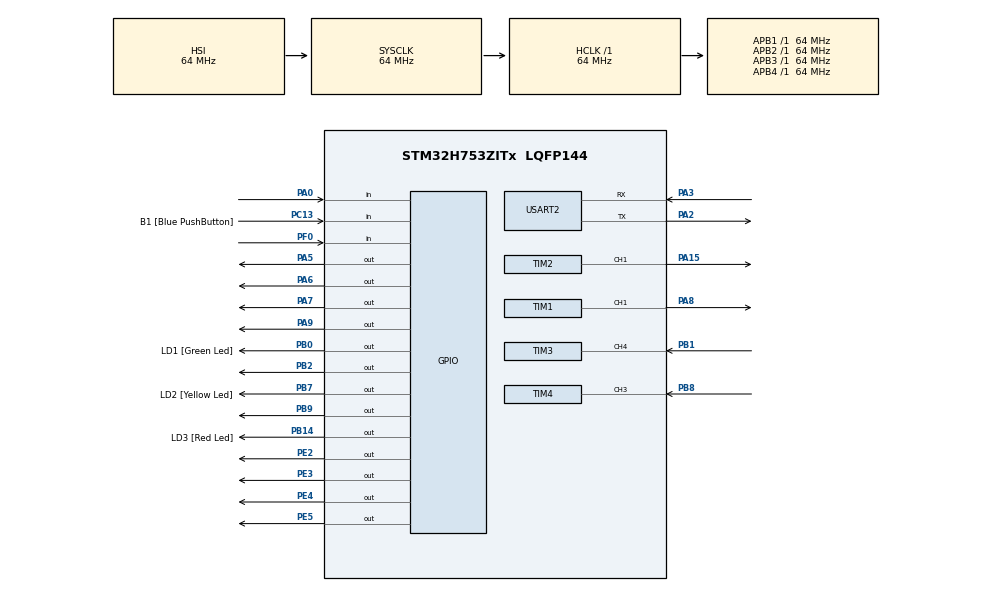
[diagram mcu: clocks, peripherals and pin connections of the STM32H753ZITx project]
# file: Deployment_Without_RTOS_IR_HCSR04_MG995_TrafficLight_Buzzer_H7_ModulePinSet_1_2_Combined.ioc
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CORTEX_M7.CPU_DCache=Disabled
CORTEX_M7.CPU_ICache=Disabled
CORTEX_M7.MPU_Control=__NULL
CORTEX_M7.default_mode_Activation=1
Mcu.Family=STM32H7
Mcu.Name=STM32H753ZITx
Mcu.Package=LQFP144
NVIC.PriorityGroup=NVIC_PRIORITYGROUP_4
NVIC.TIM3_IRQn=true\:0\:0\:false\:false\:true\:true\:true\:true
NVIC.TIM4_IRQn=true\:0\:0\:false\:false\:true\:true\:true\:true
PA0.Signal=GPIO_Input
PA15\ (JTDI).Signal=S_TIM2_CH1_ETR
PA2.Mode=Asynchronous
PA2.Signal=USART2_TX
PA3.Mode=Asynchronous
PA3.Signal=USART2_RX
PA5.Signal=GPIO_Output
PA6.Signal=GPIO_Output
PA7.Signal=GPIO_Output
PA8.Signal=S_TIM1_CH1
PA9.Signal=GPIO_Output
PB0.GPIO_Label=LD1 [Green Led]
PB0.Signal=GPIO_Output
PB1.GPIO_Speed=GPIO_SPEED_FREQ_HIGH
PB1.Signal=S_TIM3_CH4
PB14.GPIO_Label=LD3 [Red Led]
PB14.Signal=GPIO_Output
PB2.Signal=GPIO_Output
PB7.GPIO_Label=LD2 [Yellow Led]
PB7.Signal=GPIO_Output
PB8.GPIO_Speed=GPIO_SPEED_FREQ_HIGH
PB8.Signal=S_TIM4_CH3
PB9.Signal=GPIO_Output
PC13.GPIO_Label=B1 [Blue PushButton]
PC13.Signal=GPIO_Input
PC14-OSC32_IN\ (OSC32_IN).Signal=RCC_OSC32_IN
PC15-OSC32_OUT\ (OSC32_OUT).Signal=RCC_OSC32_OUT
PD8.GPIO_Label=STLINK_RX
PD8.Signal=USART3_TX
PD9.GPIO_Label=STLINK_TX
PD9.Signal=USART3_RX
PE2.Signal=GPIO_Output
PE3.Signal=GPIO_Output
PE4.Signal=GPIO_Output
PE5.Signal=GPIO_Output
PF0.Signal=GPIO_Input
PH0-OSC_IN\ (PH0).Signal=RCC_OSC_IN
PH1-OSC_OUT\ (PH1).Signal=RCC_OSC_OUT
ProjectManager.HeapSize=0x200
ProjectManager.StackSize=0x400
ProjectManager.TargetToolchain=STM32CubeIDE
RCC.ADCFreq_Value=129000000
RCC.APB1Freq_Value=64000000
RCC.APB2Freq_Value=64000000
RCC.APB3Freq_Value=64000000
RCC.APB4Freq_Value=64000000
RCC.CortexFreq_Value=64000000
RCC.DIVM1=1
RCC.DIVN1=24
RCC.DIVQ1=4
RCC.HCLKFreq_Value=64000000
RCC.HSE_VALUE=8000000
RCC.PLLFRACN=0
RCC.PWR_Regulator_Voltage_Scale=PWR_REGULATOR_VOLTAGE_SCALE2
RCC.SYSCLKFreq_VALUE=64000000
RCC.USBFreq_Value=384000000
SH.S_TIM1_CH1.0=TIM1_CH1,PWM Generation1 CH1
SH.S_TIM2_CH1_ETR.0=TIM2_CH1,PWM Generation1 CH1
SH.S_TIM3_CH4.0=TIM3_CH4,Input_Capture4_from_TI4
SH.S_TIM4_CH3.0=TIM4_CH3,Input_Capture3_from_TI3
TIM1.Channel-PWM\ Generation1\ CH1=TIM_CHANNEL_1
TIM1.Period=1999
TIM1.Prescaler=639
TIM2.Channel-PWM\ Generation1\ CH1=TIM_CHANNEL_1
TIM2.Period=1999
TIM2.Prescaler=639
TIM3.Channel-Input_Capture4_from_TI4=TIM_CHANNEL_4
TIM3.Prescaler=199
TIM4.Channel-Input_Capture3_from_TI3=TIM_CHANNEL_3
TIM4.Prescaler=199
USART2.VirtualMode-Asynchronous=VM_ASYNC
VP_MEMORYMAP_VS_MEMORYMAP.Mode=CurAppReg
VP_TIM1_VS_ClockSourceINT.Mode=Internal
VP_TIM2_VS_ClockSourceINT.Mode=Internal
VP_TIM3_VS_ClockSourceINT.Mode=Internal
VP_TIM4_VS_ClockSourceINT.Mode=Internal
board=NUCLEO-H753ZI

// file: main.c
/* USER CODE BEGIN Header */
/**
  ******************************************************************************
  * @file           : main.c
  * @brief          : Main program body
  ******************************************************************************
  * @attention
  *
  * Copyright (c) 2026 STMicroelectronics.
  * All rights reserved.
  *
  * This software is licensed under terms that can be found in the LICENSE file
  * in the root directory of this software component.
  * If no LICENSE file comes with this software, it is provided AS-IS.
  *
  ******************************************************************************
  */
/* USER CODE END Header */
#include "main.h"

/* USER CODE BEGIN Includes */
#include <stdio.h>
#include <string.h>
#include <stdarg.h>
/* USER CODE END Includes */

/* USER CODE BEGIN PD */
#define ULTRASONIC_MIN_CM 2.0f
#define ULTRASONIC_MAX_CM 15.0f
/* USER CODE END PD */

TIM_HandleTypeDef htim1;
TIM_HandleTypeDef htim2;
TIM_HandleTypeDef htim3;
TIM_HandleTypeDef htim4;

UART_HandleTypeDef huart2;

/* USER CODE BEGIN PV */
volatile uint32_t ic_val1_gate1 = 0, ic_val2_gate1 = 0;
volatile uint8_t is_first_capture_gate1 = 0;
volatile uint32_t echo_ticks_gate1 = 0;
float distance_cm_gate1 = 0.0f;

volatile uint32_t ic_val1_gate2 = 0, ic_val2_gate2 = 0;
volatile uint8_t is_first_capture_gate2 = 0;
volatile uint32_t echo_ticks_gate2 = 0;
float distance_cm_gate2 = 0.0f;

float tick_us_pwm;

volatile uint8_t sweeping_down = 0;
volatile uint8_t gates_closed = 0;
volatile uint8_t train_passing = 0;
volatile float gate1_current_angle = 180.0f, gate2_current_angle = 180.0f;

volatile uint32_t gate1_pause_end = 0;
volatile uint32_t gate2_pause_end = 0;
volatile uint32_t passing_end = 0;
volatile uint32_t open_delay_end = 0;
volatile uint32_t step_timer = 0;
volatile uint8_t yellow_blink = 0;
volatile uint32_t yellow_blink_timer = 0;

volatile uint32_t ir1_debounce_end = 0;
volatile uint32_t ir2_debounce_end = 0;
volatile uint32_t ultrasonic_timeout = 0;
/* USER CODE END PV */

void SystemClock_Config(void);
static void MX_GPIO_Init(void);
static void MX_TIM1_Init(void);
static void MX_TIM2_Init(void);
static void MX_TIM3_Init(void);
static void MX_TIM4_Init(void);
static void MX_USART2_UART_Init(void);
/* USER CODE BEGIN PFP */
void delay_us(uint16_t us);
void HCSR04_Trigger_Gate1(void);
void HCSR04_Trigger_Gate2(void);
uint32_t Angle_to_CCR(float angle_deg);
float Check_Ultrasonic_Gate1(void);
float Check_Ultrasonic_Gate2(void);
void Print(const char *format, ...);
void BlinkRedAndBuzzBoth(void);
void TurnOffAllFeedback(void);
void SetServoGate1(float angle);
void SetServoGate2(float angle);
/* USER CODE END PFP */

/* USER CODE BEGIN 0 */
void delay_us(uint16_t us)
{
  __HAL_TIM_SET_COUNTER(&htim3, 0);
  while (__HAL_TIM_GET_COUNTER(&htim3) < us);
}

void HCSR04_Trigger_Gate1(void)
{
  HAL_GPIO_WritePin(GPIOB, GPIO_PIN_2, GPIO_PIN_RESET);
  delay_us(2);
  HAL_GPIO_WritePin(GPIOB, GPIO_PIN_2, GPIO_PIN_SET);
  delay_us(10);
  HAL_GPIO_WritePin(GPIOB, GPIO_PIN_2, GPIO_PIN_RESET);
}

void HCSR04_Trigger_Gate2(void)
{
  HAL_GPIO_WritePin(GPIOB, GPIO_PIN_9, GPIO_PIN_RESET);
  delay_us(2);
  HAL_GPIO_WritePin(GPIOB, GPIO_PIN_9, GPIO_PIN_SET);
  delay_us(10);
  HAL_GPIO_WritePin(GPIOB, GPIO_PIN_9, GPIO_PIN_RESET);
}

uint32_t Angle_to_CCR(float angle_deg)
{
  float pulse_us = 1000.0f + (angle_deg / 180.0f) * 1000.0f;
  return (uint32_t)(pulse_us / tick_us_pwm);
}

float Check_Ultrasonic_Gate1(void)
{
  HCSR04_Trigger_Gate1();
  is_first_capture_gate1 = 0;
  ultrasonic_timeout = HAL_GetTick() + 50; // Timeout 50ms for no echo
  while (!is_first_capture_gate1 && HAL_GetTick() < ultrasonic_timeout)
  {
    // Wait for first capture (rising)
  }
  if (is_first_capture_gate1)
  {
    ultrasonic_timeout = HAL_GetTick() + 50;
    while (is_first_capture_gate1 && HAL_GetTick() < ultrasonic_timeout)
    {
      // Wait for second capture (falling)
    }
  }
  return distance_cm_gate1;
}

float Check_Ultrasonic_Gate2(void)
{
  HCSR04_Trigger_Gate2();
  is_first_capture_gate2 = 0;
  ultrasonic_timeout = HAL_GetTick() + 50;
  while (!is_first_capture_gate2 && HAL_GetTick() < ultrasonic_timeout)
  {
    // Wait for first capture
  }
  if (is_first_capture_gate2)
  {
    ultrasonic_timeout = HAL_GetTick() + 50;
    while (is_first_capture_gate2 && HAL_GetTick() < ultrasonic_timeout)
    {
      // Wait for second capture
    }
  }
  return distance_cm_gate2;
}

void BlinkRedAndBuzzBoth(void)
{
  HAL_GPIO_WritePin(GPIOA, GPIO_PIN_5, GPIO_PIN_SET);
  HAL_GPIO_WritePin(GPIOA, GPIO_PIN_9, GPIO_PIN_SET);
  HAL_GPIO_WritePin(GPIOE, GPIO_PIN_2, GPIO_PIN_SET);
  HAL_GPIO_WritePin(GPIOE, GPIO_PIN_5, GPIO_PIN_SET);
}

void TurnOffAllFeedback(void)
{
  HAL_GPIO_WritePin(GPIOA, GPIO_PIN_5|GPIO_PIN_6|GPIO_PIN_7|GPIO_PIN_9, GPIO_PIN_RESET);
  HAL_GPIO_WritePin(GPIOE, GPIO_PIN_2|GPIO_PIN_3|GPIO_PIN_4|GPIO_PIN_5, GPIO_PIN_RESET);
}

void SetServoGate1(float angle)
{
  __HAL_TIM_SET_COMPARE(&htim1, TIM_CHANNEL_1, Angle_to_CCR(angle));
}

void SetServoGate2(float angle)
{
  __HAL_TIM_SET_COMPARE(&htim2, TIM_CHANNEL_1, Angle_to_CCR(angle));
}

void Print(const char *format, ...)
{
  char buffer[128];
  va_list args;
  va_start(args, format);
  vsnprintf(buffer, sizeof(buffer), format, args);
  va_end(args);

  HAL_UART_Transmit(&huart2, (uint8_t*)buffer, strlen(buffer), HAL_MAX_DELAY);
}
/* USER CODE END 0 */
int main(void)
{

  /* MCU Configuration--------------------------------------------------------*/

  /* Reset of all peripherals, Initializes the Flash interface and the Systick. */
  HAL_Init();

  /* Configure the system clock */
  SystemClock_Config();

  /* Initialize all configured peripherals */
  MX_GPIO_Init();
  MX_TIM1_Init();
  MX_TIM2_Init();
  MX_TIM3_Init();
  MX_TIM4_Init();
  MX_USART2_UART_Init();
  /* USER CODE BEGIN 2 */
  HAL_TIM_PWM_Start(&htim1, TIM_CHANNEL_1);
  HAL_TIM_PWM_Start(&htim2, TIM_CHANNEL_1);
  HAL_TIM_IC_Start_IT(&htim3, TIM_CHANNEL_4);
  HAL_TIM_IC_Start_IT(&htim4, TIM_CHANNEL_3);

  uint32_t timer_clk_freq = HAL_RCC_GetPCLK2Freq();
  tick_us_pwm = (htim1.Init.Prescaler + 1) * 1.0f / (timer_clk_freq / 1000000.0f);

  SetServoGate1(180.0f);
  SetServoGate2(180.0f);

  TurnOffAllFeedback();
  HAL_GPIO_WritePin(GPIOA, GPIO_PIN_7, GPIO_PIN_SET); // Green 1
  HAL_GPIO_WritePin(GPIOE, GPIO_PIN_4, GPIO_PIN_SET); // Green 2

  Print("\r\nSystem Idle – Gates Open (180°)\r\n");
  /* USER CODE END 2 */

  /* USER CODE BEGIN WHILE */
  while (1)
  {
    uint32_t current_tick = HAL_GetTick();

    /* IR Gate 1 - Train Coming */
    if (HAL_GPIO_ReadPin(GPIOA, GPIO_PIN_0) == GPIO_PIN_RESET && !sweeping_down && !gates_closed && !train_passing && current_tick > ir1_debounce_end)
    {
      Print("IR Gate 1 Detected - Train Coming - Closing Both Gates\r\n");
      ir1_debounce_end = current_tick + 200;
      sweeping_down = 1;
      gates_closed = 0;
      train_passing = 0;

      // Blink yellow for 1-2s (toggle ON/OFF 500ms, 2 times)
      yellow_blink = 1;
      yellow_blink_timer = current_tick + 2000;

      while (current_tick < yellow_blink_timer)
      {
        current_tick = HAL_GetTick();
        if (current_tick - yellow_blink_timer % 1000 < 500)
        {
          HAL_GPIO_WritePin(GPIOA, GPIO_PIN_6, GPIO_PIN_SET);
          HAL_GPIO_WritePin(GPIOE, GPIO_PIN_3, GPIO_PIN_SET);
        }
        else
        {
          HAL_GPIO_WritePin(GPIOA, GPIO_PIN_6, GPIO_PIN_RESET);
          HAL_GPIO_WritePin(GPIOE, GPIO_PIN_3, GPIO_PIN_RESET);
        }
      }
      HAL_GPIO_WritePin(GPIOA, GPIO_PIN_6, GPIO_PIN_RESET);
      HAL_GPIO_WritePin(GPIOE, GPIO_PIN_3, GPIO_PIN_RESET);
      yellow_blink = 0;

      gate1_current_angle = 180.0f;
      gate2_current_angle = 180.0f;

      gate1_pause_end = 0;
      gate2_pause_end = 0;
      step_timer = current_tick + 100; // 100ms steps
    }

    /* Closing Logic */
    if (sweeping_down)
    {
      current_tick = HAL_GetTick();
      if (current_tick >= step_timer)
      {
        step_timer = current_tick + 100;

        uint8_t moved = 0;

        /* Gate 1 */
        if (gate1_current_angle > 0.0f)
        {
          if (current_tick < gate1_pause_end)
          {
            // Pausing
          }
          else
          {
            float dist1 = Check_Ultrasonic_Gate1();
            if (dist1 >= ULTRASONIC_MIN_CM && dist1 <= ULTRASONIC_MAX_CM)
            {
              Print("Gate 1 Ultrasonic Detected at %.1f cm - Pausing at 90°, Wait 1s\r\n", dist1);
              SetServoGate1(90.0f);
              gate1_pause_end = current_tick + 1000; // 1s pause
            }
            else
            {
              gate1_current_angle -= 10.0f;
              SetServoGate1(gate1_current_angle);
              Print("Gate 1 Angle: %.1f°\r\n", gate1_current_angle);
              moved = 1;
            }
          }
        }

        /* Gate 2 */
        if (gate2_current_angle > 0.0f)
        {
          if (current_tick < gate2_pause_end)
          {
            // Pausing
          }
          else
          {
            float dist2 = Check_Ultrasonic_Gate2();
            if (dist2 >= ULTRASONIC_MIN_CM && dist2 <= ULTRASONIC_MAX_CM)
            {
              Print("Gate 2 Ultrasonic Detected at %.1f cm - Pausing at 90°, Wait 1s\r\n", dist2);
              SetServoGate2(90.0f);
              gate2_pause_end = current_tick + 1000; // 1s pause
            }
            else
            {
              gate2_current_angle -= 10.0f;
              SetServoGate2(gate2_current_angle);
              Print("Gate 2 Angle: %.1f°\r\n", gate2_current_angle);
              moved = 1;
            }
          }
        }

        if (moved)
        {
          BlinkRedAndBuzzBoth();
        }
      }

      if (gate1_current_angle <= 0.0f && gate2_current_angle <= 0.0f)
      {
        sweeping_down = 0;
        gates_closed = 1;
        Print("Both Gates Closed (0°) - Train Passing - 3s Delay\r\n");
        passing_end = current_tick + 3000; // 3s passing
        HAL_GPIO_WritePin(GPIOA, GPIO_PIN_5, GPIO_PIN_SET); // Steady red
        HAL_GPIO_WritePin(GPIOE, GPIO_PIN_2, GPIO_PIN_SET);
        HAL_GPIO_WritePin(GPIOA, GPIO_PIN_9, GPIO_PIN_SET); // Steady buzzer
        HAL_GPIO_WritePin(GPIOE, GPIO_PIN_5, GPIO_PIN_SET);
      }
    }

    /* Passing Delay */
    if (gates_closed && current_tick >= passing_end)
    {
      TurnOffAllFeedback();
      train_passing = 1;
    }

    /* IR Gate 2 - Train Exited */
    if (train_passing && HAL_GPIO_ReadPin(GPIOF, GPIO_PIN_0) == GPIO_PIN_RESET && current_tick > ir2_debounce_end)
    {
      Print("IR Gate 2 Detected - Train Exited - 1s Delay then Opening Both Gates\r\n");
      ir2_debounce_end = current_tick + 200;
      open_delay_end = current_tick + 1000; // 1s delay

      while (current_tick < open_delay_end)
      {
        current_tick = HAL_GetTick();
      }

      gate1_current_angle = 0.0f;
      gate2_current_angle = 0.0f;
      step_timer = current_tick + 100; // 100ms steps

      while (gate1_current_angle < 180.0f || gate2_current_angle < 180.0f)
      {
        current_tick = HAL_GetTick();
        if (current_tick >= step_timer)
        {
          step_timer = current_tick + 100;

          if (gate1_current_angle < 180.0f)
          {
            gate1_current_angle += 10.0f;
            SetServoGate1(gate1_current_angle);
            Print("Gate 1 Angle: %.1f°\r\n", gate1_current_angle);
          }

          if (gate2_current_angle < 180.0f)
          {
            gate2_current_angle += 10.0f;
            SetServoGate2(gate2_current_angle);
            Print("Gate 2 Angle: %.1f°\r\n", gate2_current_angle);
          }

          BlinkRedAndBuzzBoth();
        }
      }

      Print("Both Gates Open (180°) - Safe State\r\n");
      TurnOffAllFeedback();
      HAL_GPIO_WritePin(GPIOA, GPIO_PIN_7, GPIO_PIN_SET); // Green ON
      HAL_GPIO_WritePin(GPIOE, GPIO_PIN_4, GPIO_PIN_SET); // Green ON

      gates_closed = 0;
      train_passing = 0;
    }

    HAL_Delay(50); // Main loop rate
  }
  /* USER CODE END 3 */
}

void SystemClock_Config(void)
{
  RCC_OscInitTypeDef RCC_OscInitStruct = {0};
  RCC_ClkInitTypeDef RCC_ClkInitStruct = {0};

  /** Supply configuration update enable
  */
  HAL_PWREx_ConfigSupply(PWR_LDO_SUPPLY);

  /** Configure the main internal regulator output voltage
  */
  __HAL_PWR_VOLTAGESCALING_CONFIG(PWR_REGULATOR_VOLTAGE_SCALE2);

  while(!__HAL_PWR_GET_FLAG(PWR_FLAG_VOSRDY)) {}

  /** Initializes the RCC Oscillators according to the specified parameters
  * in the RCC_OscInitTypeDef structure.
  */
  RCC_OscInitStruct.OscillatorType = RCC_OSCILLATORTYPE_HSI;
  RCC_OscInitStruct.HSIState = RCC_HSI_DIV1;
  RCC_OscInitStruct.HSICalibrationValue = RCC_HSICALIBRATION_DEFAULT;
  RCC_OscInitStruct.PLL.PLLState = RCC_PLL_NONE;
  if (HAL_RCC_OscConfig(&RCC_OscInitStruct) != HAL_OK)
  {
    Error_Handler();
  }

  /** Initializes the CPU, AHB and APB buses clocks
  */
  RCC_ClkInitStruct.ClockType = RCC_CLOCKTYPE_HCLK|RCC_CLOCKTYPE_SYSCLK
                              |RCC_CLOCKTYPE_PCLK1|RCC_CLOCKTYPE_PCLK2
                              |RCC_CLOCKTYPE_D3PCLK1|RCC_CLOCKTYPE_D1PCLK1;
  RCC_ClkInitStruct.SYSCLKSource = RCC_SYSCLKSOURCE_HSI;
  RCC_ClkInitStruct.SYSCLKDivider = RCC_SYSCLK_DIV1;
  RCC_ClkInitStruct.AHBCLKDivider = RCC_HCLK_DIV1;
  RCC_ClkInitStruct.APB3CLKDivider = RCC_APB3_DIV1;
  RCC_ClkInitStruct.APB1CLKDivider = RCC_APB1_DIV1;
  RCC_ClkInitStruct.APB2CLKDivider = RCC_APB2_DIV1;
  RCC_ClkInitStruct.APB4CLKDivider = RCC_APB4_DIV1;

  if (HAL_RCC_ClockConfig(&RCC_ClkInitStruct, FLASH_LATENCY_1) != HAL_OK)
  {
    Error_Handler();
  }
}

static void MX_TIM1_Init(void)
{

  TIM_ClockConfigTypeDef sClockSourceConfig = {0};
  TIM_MasterConfigTypeDef sMasterConfig = {0};
  TIM_OC_InitTypeDef sConfigOC = {0};
  TIM_BreakDeadTimeConfigTypeDef sBreakDeadTimeConfig = {0};

  htim1.Instance = TIM1;
  htim1.Init.Prescaler = 639;
  htim1.Init.CounterMode = TIM_COUNTERMODE_UP;
  htim1.Init.Period = 1999;
  htim1.Init.ClockDivision = TIM_CLOCKDIVISION_DIV1;
  htim1.Init.RepetitionCounter = 0;
  htim1.Init.AutoReloadPreload = TIM_AUTORELOAD_PRELOAD_DISABLE;
  if (HAL_TIM_Base_Init(&htim1) != HAL_OK)
  {
    Error_Handler();
  }
  sClockSourceConfig.ClockSource = TIM_CLOCKSOURCE_INTERNAL;
  if (HAL_TIM_ConfigClockSource(&htim1, &sClockSourceConfig) != HAL_OK)
  {
    Error_Handler();
  }
  if (HAL_TIM_PWM_Init(&htim1) != HAL_OK)
  {
    Error_Handler();
  }
  sMasterConfig.MasterOutputTrigger = TIM_TRGO_RESET;
  sMasterConfig.MasterOutputTrigger2 = TIM_TRGO2_RESET;
  sMasterConfig.MasterSlaveMode = TIM_MASTERSLAVEMODE_DISABLE;
  if (HAL_TIMEx_MasterConfigSynchronization(&htim1, &sMasterConfig) != HAL_OK)
  {
    Error_Handler();
  }
  sConfigOC.OCMode = TIM_OCMODE_PWM1;
  sConfigOC.Pulse = 0;
  sConfigOC.OCPolarity = TIM_OCPOLARITY_HIGH;
  sConfigOC.OCNPolarity = TIM_OCNPOLARITY_HIGH;
  sConfigOC.OCFastMode = TIM_OCFAST_DISABLE;
  sConfigOC.OCIdleState = TIM_OCIDLESTATE_RESET;
  sConfigOC.OCNIdleState = TIM_OCNIDLESTATE_RESET;
  if (HAL_TIM_PWM_ConfigChannel(&htim1, &sConfigOC, TIM_CHANNEL_1) != HAL_OK)
  {
    Error_Handler();
  }
  sBreakDeadTimeConfig.OffStateRunMode = TIM_OSSR_DISABLE;
  sBreakDeadTimeConfig.OffStateIDLEMode = TIM_OSSI_DISABLE;
  sBreakDeadTimeConfig.LockLevel = TIM_LOCKLEVEL_OFF;
  sBreakDeadTimeConfig.DeadTime = 0;
  sBreakDeadTimeConfig.BreakState = TIM_BREAK_DISABLE;
  sBreakDeadTimeConfig.BreakPolarity = TIM_BREAKPOLARITY_HIGH;
  sBreakDeadTimeConfig.BreakFilter = 0;
  sBreakDeadTimeConfig.Break2State = TIM_BREAK2_DISABLE;
  sBreakDeadTimeConfig.Break2Polarity = TIM_BREAK2POLARITY_HIGH;
  sBreakDeadTimeConfig.Break2Filter = 0;
  sBreakDeadTimeConfig.AutomaticOutput = TIM_AUTOMATICOUTPUT_DISABLE;
  if (HAL_TIMEx_ConfigBreakDeadTime(&htim1, &sBreakDeadTimeConfig) != HAL_OK)
  {
    Error_Handler();
  }
  HAL_TIM_MspPostInit(&htim1);

}

static void MX_TIM2_Init(void)
{

  TIM_ClockConfigTypeDef sClockSourceConfig = {0};
  TIM_MasterConfigTypeDef sMasterConfig = {0};
  TIM_OC_InitTypeDef sConfigOC = {0};

  htim2.Instance = TIM2;
  htim2.Init.Prescaler = 639;
  htim2.Init.CounterMode = TIM_COUNTERMODE_UP;
  htim2.Init.Period = 1999;
  htim2.Init.ClockDivision = TIM_CLOCKDIVISION_DIV1;
  htim2.Init.AutoReloadPreload = TIM_AUTORELOAD_PRELOAD_DISABLE;
  if (HAL_TIM_Base_Init(&htim2) != HAL_OK)
  {
    Error_Handler();
  }
  sClockSourceConfig.ClockSource = TIM_CLOCKSOURCE_INTERNAL;
  if (HAL_TIM_ConfigClockSource(&htim2, &sClockSourceConfig) != HAL_OK)
  {
    Error_Handler();
  }
  if (HAL_TIM_PWM_Init(&htim2) != HAL_OK)
  {
    Error_Handler();
  }
  sMasterConfig.MasterOutputTrigger = TIM_TRGO_RESET;
  sMasterConfig.MasterSlaveMode = TIM_MASTERSLAVEMODE_DISABLE;
  if (HAL_TIMEx_MasterConfigSynchronization(&htim2, &sMasterConfig) != HAL_OK)
  {
    Error_Handler();
  }
  sConfigOC.OCMode = TIM_OCMODE_PWM1;
  sConfigOC.Pulse = 0;
  sConfigOC.OCPolarity = TIM_OCPOLARITY_HIGH;
  sConfigOC.OCFastMode = TIM_OCFAST_DISABLE;
  if (HAL_TIM_PWM_ConfigChannel(&htim2, &sConfigOC, TIM_CHANNEL_1) != HAL_OK)
  {
    Error_Handler();
  }
  HAL_TIM_MspPostInit(&htim2);

}

static void MX_TIM3_Init(void)
{

  TIM_ClockConfigTypeDef sClockSourceConfig = {0};
  TIM_MasterConfigTypeDef sMasterConfig = {0};
  TIM_IC_InitTypeDef sConfigIC = {0};

  htim3.Instance = TIM3;
  htim3.Init.Prescaler = 199;
  htim3.Init.CounterMode = TIM_COUNTERMODE_UP;
  htim3.Init.Period = 65535;
  htim3.Init.ClockDivision = TIM_CLOCKDIVISION_DIV1;
  htim3.Init.AutoReloadPreload = TIM_AUTORELOAD_PRELOAD_DISABLE;
  if (HAL_TIM_Base_Init(&htim3) != HAL_OK)
  {
    Error_Handler();
  }
  sClockSourceConfig.ClockSource = TIM_CLOCKSOURCE_INTERNAL;
  if (HAL_TIM_ConfigClockSource(&htim3, &sClockSourceConfig) != HAL_OK)
  {
    Error_Handler();
  }
  if (HAL_TIM_IC_Init(&htim3) != HAL_OK)
  {
    Error_Handler();
  }
  sMasterConfig.MasterOutputTrigger = TIM_TRGO_RESET;
  sMasterConfig.MasterSlaveMode = TIM_MASTERSLAVEMODE_DISABLE;
  if (HAL_TIMEx_MasterConfigSynchronization(&htim3, &sMasterConfig) != HAL_OK)
  {
    Error_Handler();
  }
  sConfigIC.ICPolarity = TIM_INPUTCHANNELPOLARITY_RISING;
  sConfigIC.ICSelection = TIM_ICSELECTION_DIRECTTI;
  sConfigIC.ICPrescaler = TIM_ICPSC_DIV1;
  sConfigIC.ICFilter = 0;
  if (HAL_TIM_IC_ConfigChannel(&htim3, &sConfigIC, TIM_CHANNEL_4) != HAL_OK)
  {
    Error_Handler();
  }

}

static void MX_TIM4_Init(void)
{

  TIM_ClockConfigTypeDef sClockSourceConfig = {0};
  TIM_MasterConfigTypeDef sMasterConfig = {0};
  TIM_IC_InitTypeDef sConfigIC = {0};

  htim4.Instance = TIM4;
  htim4.Init.Prescaler = 199;
  htim4.Init.CounterMode = TIM_COUNTERMODE_UP;
  htim4.Init.Period = 65535;
  htim4.Init.ClockDivision = TIM_CLOCKDIVISION_DIV1;
  htim4.Init.AutoReloadPreload = TIM_AUTORELOAD_PRELOAD_DISABLE;
  if (HAL_TIM_Base_Init(&htim4) != HAL_OK)
  {
    Error_Handler();
  }
  sClockSourceConfig.ClockSource = TIM_CLOCKSOURCE_INTERNAL;
  if (HAL_TIM_ConfigClockSource(&htim4, &sClockSourceConfig) != HAL_OK)
  {
    Error_Handler();
  }
  if (HAL_TIM_IC_Init(&htim4) != HAL_OK)
  {
    Error_Handler();
  }
  sMasterConfig.MasterOutputTrigger = TIM_TRGO_RESET;
  sMasterConfig.MasterSlaveMode = TIM_MASTERSLAVEMODE_DISABLE;
  if (HAL_TIMEx_MasterConfigSynchronization(&htim4, &sMasterConfig) != HAL_OK)
  {
    Error_Handler();
  }
  sConfigIC.ICPolarity = TIM_INPUTCHANNELPOLARITY_RISING;
  sConfigIC.ICSelection = TIM_ICSELECTION_DIRECTTI;
  sConfigIC.ICPrescaler = TIM_ICPSC_DIV1;
  sConfigIC.ICFilter = 0;
  if (HAL_TIM_IC_ConfigChannel(&htim4, &sConfigIC, TIM_CHANNEL_3) != HAL_OK)
  {
    Error_Handler();
  }

}

static void MX_USART2_UART_Init(void)
{

  huart2.Instance = USART2;
  huart2.Init.BaudRate = 115200;
  huart2.Init.WordLength = UART_WORDLENGTH_8B;
  huart2.Init.StopBits = UART_STOPBITS_1;
  huart2.Init.Parity = UART_PARITY_NONE;
  huart2.Init.Mode = UART_MODE_TX_RX;
  huart2.Init.HwFlowCtl = UART_HWCONTROL_NONE;
  huart2.Init.OverSampling = UART_OVERSAMPLING_16;
  huart2.Init.OneBitSampling = UART_ONE_BIT_SAMPLE_DISABLE;
  huart2.Init.ClockPrescaler = UART_PRESCALER_DIV1;
  huart2.AdvancedInit.AdvFeatureInit = UART_ADVFEATURE_NO_INIT;
  if (HAL_UART_Init(&huart2) != HAL_OK)
  {
    Error_Handler();
  }
  if (HAL_UARTEx_SetTxFifoThreshold(&huart2, UART_TXFIFO_THRESHOLD_1_8) != HAL_OK)
  {
    Error_Handler();
  }
  if (HAL_UARTEx_SetRxFifoThreshold(&huart2, UART_RXFIFO_THRESHOLD_1_8) != HAL_OK)
  {
    Error_Handler();
  }
  if (HAL_UARTEx_DisableFifoMode(&huart2) != HAL_OK)
  {
    Error_Handler();
  }

}

static void MX_GPIO_Init(void)
{
  GPIO_InitTypeDef GPIO_InitStruct = {0};

  /* GPIO Ports Clock Enable */
  __HAL_RCC_GPIOE_CLK_ENABLE();
  __HAL_RCC_GPIOC_CLK_ENABLE();
  __HAL_RCC_GPIOF_CLK_ENABLE();
  __HAL_RCC_GPIOH_CLK_ENABLE();
  __HAL_RCC_GPIOA_CLK_ENABLE();
  __HAL_RCC_GPIOB_CLK_ENABLE();
  __HAL_RCC_GPIOD_CLK_ENABLE();

  /*Configure GPIO pin Output Level */
  HAL_GPIO_WritePin(GPIOE, GPIO_PIN_2|GPIO_PIN_3|GPIO_PIN_4|GPIO_PIN_5, GPIO_PIN_RESET);

  /*Configure GPIO pin Output Level */
  HAL_GPIO_WritePin(GPIOA, GPIO_PIN_5|GPIO_PIN_6|GPIO_PIN_7|GPIO_PIN_9, GPIO_PIN_RESET);

  /*Configure GPIO pin Output Level */
  HAL_GPIO_WritePin(GPIOB, LD1_Pin|GPIO_PIN_2|LD3_Pin|LD2_Pin
                          |GPIO_PIN_9, GPIO_PIN_RESET);

  /*Configure GPIO pins : PE2 PE3 PE4 PE5 */
  GPIO_InitStruct.Pin = GPIO_PIN_2|GPIO_PIN_3|GPIO_PIN_4|GPIO_PIN_5;
  GPIO_InitStruct.Mode = GPIO_MODE_OUTPUT_PP;
  GPIO_InitStruct.Pull = GPIO_NOPULL;
  GPIO_InitStruct.Speed = GPIO_SPEED_FREQ_LOW;
  HAL_GPIO_Init(GPIOE, &GPIO_InitStruct);

  /*Configure GPIO pin : B1_Pin */
  GPIO_InitStruct.Pin = B1_Pin;
  GPIO_InitStruct.Mode = GPIO_MODE_INPUT;
  GPIO_InitStruct.Pull = GPIO_NOPULL;
  HAL_GPIO_Init(B1_GPIO_Port, &GPIO_InitStruct);

  /*Configure GPIO pin : PF0 */
  GPIO_InitStruct.Pin = GPIO_PIN_0;
  GPIO_InitStruct.Mode = GPIO_MODE_INPUT;
  GPIO_InitStruct.Pull = GPIO_NOPULL;
  HAL_GPIO_Init(GPIOF, &GPIO_InitStruct);

  /*Configure GPIO pin : PA0 */
  GPIO_InitStruct.Pin = GPIO_PIN_0;
  GPIO_InitStruct.Mode = GPIO_MODE_INPUT;
  GPIO_InitStruct.Pull = GPIO_NOPULL;
  HAL_GPIO_Init(GPIOA, &GPIO_InitStruct);

  /*Configure GPIO pins : PA5 PA6 PA7 PA9 */
  GPIO_InitStruct.Pin = GPIO_PIN_5|GPIO_PIN_6|GPIO_PIN_7|GPIO_PIN_9;
  GPIO_InitStruct.Mode = GPIO_MODE_OUTPUT_PP;
  GPIO_InitStruct.Pull = GPIO_NOPULL;
  GPIO_InitStruct.Speed = GPIO_SPEED_FREQ_LOW;
  HAL_GPIO_Init(GPIOA, &GPIO_InitStruct);

  /*Configure GPIO pins : LD1_Pin PB2 LD3_Pin LD2_Pin
                           PB9 */
  GPIO_InitStruct.Pin = LD1_Pin|GPIO_PIN_2|LD3_Pin|LD2_Pin
                          |GPIO_PIN_9;
  GPIO_InitStruct.Mode = GPIO_MODE_OUTPUT_PP;
  GPIO_InitStruct.Pull = GPIO_NOPULL;
  GPIO_InitStruct.Speed = GPIO_SPEED_FREQ_LOW;
  HAL_GPIO_Init(GPIOB, &GPIO_InitStruct);

  /*Configure GPIO pins : STLINK_RX_Pin STLINK_TX_Pin */
  GPIO_InitStruct.Pin = STLINK_RX_Pin|STLINK_TX_Pin;
  GPIO_InitStruct.Mode = GPIO_MODE_AF_PP;
  GPIO_InitStruct.Pull = GPIO_NOPULL;
  GPIO_InitStruct.Speed = GPIO_SPEED_FREQ_LOW;
  GPIO_InitStruct.Alternate = GPIO_AF7_USART3;
  HAL_GPIO_Init(GPIOD, &GPIO_InitStruct);

}

/* USER CODE BEGIN 4 */
void HAL_TIM_IC_CaptureCallback(TIM_HandleTypeDef *htim)
{
 if (htim->Instance == TIM3) // Gate 1 - PB1 Echo
 {
   if (!is_first_capture_gate1)
   {
     ic_val1_gate1 = HAL_TIM_ReadCapturedValue(htim, TIM_CHANNEL_4);
     is_first_capture_gate1 = 1;
     __HAL_TIM_SET_CAPTUREPOLARITY(htim, TIM_CHANNEL_4, TIM_INPUTCHANNELPOLARITY_FALLING);
   }
   else
   {
     ic_val2_gate1 = HAL_TIM_ReadCapturedValue(htim, TIM_CHANNEL_4);
     if (ic_val2_gate1 > ic_val1_gate1)
       echo_ticks_gate1 = ic_val2_gate1 - ic_val1_gate1;
     else
       echo_ticks_gate1 = (65535 - ic_val1_gate1) + ic_val2_gate1;
     distance_cm_gate1 = (echo_ticks_gate1 * 3.125f * 0.0343f) / 2.0f;
     is_first_capture_gate1 = 0;
     __HAL_TIM_SET_CAPTUREPOLARITY(htim, TIM_CHANNEL_4, TIM_INPUTCHANNELPOLARITY_RISING);
   }
 }
 else if (htim->Instance == TIM4) // Gate 2 - PB8 Echo
 {
   if (!is_first_capture_gate2)
   {
     ic_val1_gate2 = HAL_TIM_ReadCapturedValue(htim, TIM_CHANNEL_3);
     is_first_capture_gate2 = 1;
     __HAL_TIM_SET_CAPTUREPOLARITY(htim, TIM_CHANNEL_3, TIM_INPUTCHANNELPOLARITY_FALLING);
   }
   else
   {
     ic_val2_gate2 = HAL_TIM_ReadCapturedValue(htim, TIM_CHANNEL_3);
     if (ic_val2_gate2 > ic_val1_gate2)
       echo_ticks_gate2 = ic_val2_gate2 - ic_val1_gate2;
     else
       echo_ticks_gate2 = (65535 - ic_val1_gate2) + ic_val2_gate2;
     distance_cm_gate2 = (echo_ticks_gate2 * 3.125f * 0.0343f) / 2.0f;
     is_first_capture_gate2 = 0;
     __HAL_TIM_SET_CAPTUREPOLARITY(htim, TIM_CHANNEL_3, TIM_INPUTCHANNELPOLARITY_RISING);
   }
 }
}
/* USER CODE END 4 */

void Error_Handler(void)
{
  __disable_irq();
  while (1)
  {
  }
}
